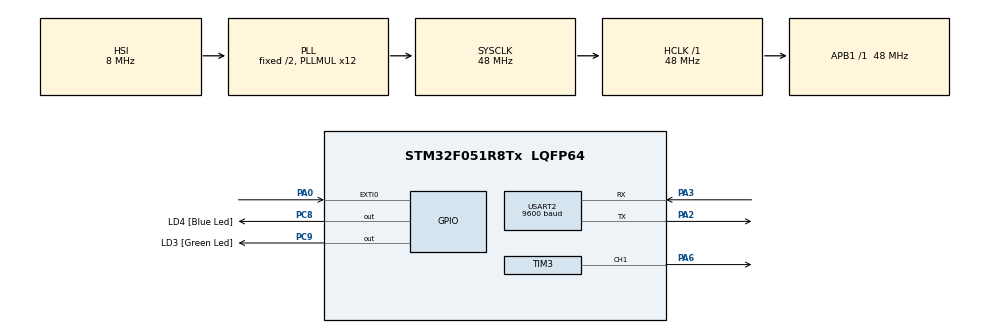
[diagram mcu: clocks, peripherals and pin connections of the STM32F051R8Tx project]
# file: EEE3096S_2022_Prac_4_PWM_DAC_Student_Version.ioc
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Dma.Request0=TIM2_CH1
Dma.TIM2_CH1.0.Direction=DMA_MEMORY_TO_PERIPH
Dma.TIM2_CH1.0.Instance=DMA1_Channel5
Dma.TIM2_CH1.0.MemDataAlignment=DMA_MDATAALIGN_WORD
Dma.TIM2_CH1.0.MemInc=DMA_MINC_ENABLE
Dma.TIM2_CH1.0.Mode=DMA_CIRCULAR
Dma.TIM2_CH1.0.PeriphDataAlignment=DMA_PDATAALIGN_WORD
Dma.TIM2_CH1.0.PeriphInc=DMA_PINC_DISABLE
Dma.TIM2_CH1.0.Priority=DMA_PRIORITY_LOW
Mcu.Family=STM32F0
Mcu.Name=STM32F051R8Tx
Mcu.Package=LQFP64
NVIC.DMA1_Channel4_5_IRQn=true\:0\:0\:false\:false\:true\:false\:true\:true
NVIC.EXTI0_1_IRQn=true\:0\:0\:false\:false\:true\:true\:true\:true
PA0.Signal=GPXTI0
PA13.GPIO_Label=SWDIO
PA13.Mode=Serial_Wire
PA13.Signal=SYS_SWDIO
PA14.GPIO_Label=SWCLK
PA14.Mode=Serial_Wire
PA14.Signal=SYS_SWCLK
PA2.Mode=Asynchronous
PA2.Signal=USART2_TX
PA3.Mode=Asynchronous
PA3.Signal=USART2_RX
PA6.Signal=S_TIM3_CH1
PC8.GPIO_Label=LD4 [Blue Led]
PC8.Signal=GPIO_Output
PC9.GPIO_Label=LD3 [Green Led]
PC9.Signal=GPIO_Output
PF0-OSC_IN.Mode=HSE-External-Oscillator
PF0-OSC_IN.Signal=RCC_OSC_IN
PF1-OSC_OUT.Mode=HSE-External-Oscillator
PF1-OSC_OUT.Signal=RCC_OSC_OUT
ProjectManager.HeapSize=0x200
ProjectManager.StackSize=0x400
ProjectManager.TargetToolchain=STM32CubeIDE
RCC.AHBFreq_Value=48000000
RCC.APB1Freq_Value=48000000
RCC.APB1TimFreq_Value=48000000
RCC.HCLKFreq_Value=48000000
RCC.PLLMUL=RCC_PLL_MUL12
RCC.SYSCLKFreq_VALUE=48000000
RCC.SYSCLKSource=RCC_SYSCLKSOURCE_PLLCLK
SH.S_TIM3_CH1.0=TIM3_CH1,PWM Generation1 CH1
TIM2.AutoReloadPreload=TIM_AUTORELOAD_PRELOAD_ENABLE
TIM2.Channel-Output\ Compare1\ No\ Output=TIM_CHANNEL_1
TIM2.Period=100
TIM3.AutoReloadPreload=TIM_AUTORELOAD_PRELOAD_ENABLE
TIM3.Channel-PWM\ Generation1\ CH1=TIM_CHANNEL_1
TIM3.Period=1023
USART2.BaudRate=9600
USART2.VirtualMode-Asynchronous=VM_ASYNC
VP_TIM2_VS_ClockSourceINT.Mode=Internal
VP_TIM2_VS_no_output1.Mode=Output Compare1 No Output
VP_TIM3_VS_ClockSourceINT.Mode=Internal
board=STM32F0DISCOVERY

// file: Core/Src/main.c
/* USER CODE BEGIN Header */
/**
*******************************************************
Info:		STM32 DMA and PWM with HAL
Author:		Amaan Vally
*******************************************************
In this practical you will to use PWM using DMA on the STM32 using the HAL.
We also set up an interrupt to switch the waveform between various LUTs.

  ******************************************************************************
  */
/* USER CODE END Header */
#include "main.h"

/* USER CODE BEGIN Includes */
#include "stdio.h"
/* USER CODE END Includes */

/* USER CODE BEGIN PD */

//TO DO:
//TASK 2
//Assign values to NS, TIM2CLK and F_SIGNAL
#define NS 128
#define TIM2CLK 48000000
#define F_SIGNAL 500

// Define RS232 Address
#define DS3231_ADDRESS 0xD0

/* USER CODE END PD */

 TIM_HandleTypeDef htim2;
TIM_HandleTypeDef htim3;
DMA_HandleTypeDef hdma_tim2_ch1;

UART_HandleTypeDef huart2;

/* USER CODE BEGIN PV */

//TO DO:
//TASK 1
//Create global variables for LUTs
uint32_t sin_LUT[NS] = {511, 536, 561, 586, 611, 635, 659, 683, 707, 730, 752, 774, 795, 816, 835,
855, 873, 890, 906, 922, 936, 950, 962, 973, 984, 993, 1000, 1007, 1013, 1017,
1020, 1022, 1023, 1022, 1020, 1017, 1013, 1007, 1000, 993, 984, 973, 962, 950, 936,
922, 906, 890, 873, 855, 835, 816, 795, 774, 752, 730, 707, 683, 659, 635,
611, 586, 561, 536, 511, 486, 461, 436, 411, 387, 363, 339, 315, 292, 270,
248, 227, 206, 187, 167, 149, 132, 116, 100, 86, 72, 60, 49, 38, 29,
22, 15, 9, 5, 2, 0, 0, 0, 2, 5, 9, 15, 22, 29, 38,
49, 60, 72, 86, 100, 116, 132, 149, 167, 187, 206, 227, 248, 270, 292,
315, 339, 363, 387, 411, 436, 461, 486};
uint32_t saw_LUT[NS] = {511, 519, 527, 535, 543, 551, 559, 567, 575, 583, 591, 599, 607, 615, 623,
631, 639, 647, 655, 663, 671, 679, 687, 695, 703, 711, 719, 727, 735, 743,
751, 759, 767, 775, 783, 791, 799, 807, 815, 823, 831, 839, 847, 855, 863,
871, 879, 887, 895, 903, 911, 919, 927, 935, 943, 951, 959, 967, 975, 983,
991, 999, 1007, 1015, 0, 7, 15, 23, 31, 39, 47, 55, 63, 71, 79,
87, 95, 103, 111, 119, 127, 135, 143, 151, 159, 167, 175, 183, 191, 199,
207, 215, 223, 231, 239, 247, 255, 263, 271, 279, 287, 295, 303, 311, 319,
327, 335, 343, 351, 359, 367, 375, 383, 391, 399, 407, 415, 423, 431, 439,
447, 455, 463, 471, 479, 487, 495, 503};
uint32_t triangle_LUT[NS] = {511, 527, 543, 559, 575, 591, 607, 623, 639, 655, 671, 687, 703, 719, 735,
751, 767, 783, 799, 815, 831, 847, 863, 879, 895, 911, 927, 943, 959, 975,
991, 1007, 1023, 1007, 991, 975, 959, 943, 927, 911, 895, 879, 863, 847, 831,
815, 799, 783, 767, 751, 735, 719, 703, 687, 671, 655, 639, 623, 607, 591,
575, 559, 543, 527, 511, 495, 479, 463, 447, 431, 415, 399, 383, 367, 351,
335, 319, 303, 287, 271, 255, 239, 223, 207, 191, 175, 159, 143, 127, 111,
95, 79, 63, 47, 31, 15, 0, 15, 31, 47, 63, 79, 95, 111, 127,
143, 159, 175, 191, 207, 223, 239, 255, 271, 287, 303, 319, 335, 351, 367,
383, 399, 415, 431, 447, 463, 479, 495};

//TO DO:
//TASK 3
//Calculate TIM2_Ticks
uint32_t TIM2_Ticks = (uint32_t)(TIM2CLK/F_SIGNAL)/NS;

// Global variables for debouncing and mode
int Start = 0;
int End = 0;
int mode = 0;

// Buffer for UART
char buffer[14];
/* USER CODE END PV */

void SystemClock_Config(void);
static void MX_GPIO_Init(void);
static void MX_DMA_Init(void);
static void MX_TIM2_Init(void);
static void MX_TIM3_Init(void);
static void MX_USART2_UART_Init(void);
/* USER CODE BEGIN PFP */
void EXTI0_1_IRQHandler(void);
/* USER CODE END PFP */

int main(void)
{

  /* MCU Configuration--------------------------------------------------------*/

  /* Reset of all peripherals, Initializes the Flash interface and the Systick. */
  HAL_Init();

  /* Configure the system clock */
  SystemClock_Config();

  /* Initialize all configured peripherals */
  MX_GPIO_Init();
  MX_DMA_Init();
  MX_TIM2_Init();
  MX_TIM3_Init();
  MX_USART2_UART_Init();
  /* USER CODE BEGIN 2 */

  //TO DO:
  //TASK 4
  //Start TIM3 in PWM mode on channel 1
  HAL_TIM_PWM_Start(&htim3, TIM_CHANNEL_1);
  //Start TIM2 in Output Compare (OC) mode on channel 1.
  HAL_TIM_OC_Start(&htim2, TIM_CHANNEL_1);
  //Start the DMA in interrupt (IT) mode.
  uint32_t DestAddress = (uint32_t) &(TIM3->CCR1);
  HAL_DMA_Start_IT(&hdma_tim2_ch1, (uint32_t)sin_LUT, DestAddress, NS);
  //Start the DMA transfer
  __HAL_TIM_ENABLE_DMA(&htim2, TIM_DMA_CC1);

  /* USER CODE END 2 */

  /* Infinite loop */
  while (1)
  {
	  // Display the contents of timer 3s control register. This contains the current duty cycle value
	  // We do this to check the values being displayed used by the PWM DAC
	  sprintf(buffer, "%d\r\n", TIM3->CCR1);
	  // Transmit data via UART
	  HAL_UART_Transmit(&huart2, buffer, sizeof(buffer), 1000);
  }
}

void SystemClock_Config(void)
{
  RCC_OscInitTypeDef RCC_OscInitStruct = {0};
  RCC_ClkInitTypeDef RCC_ClkInitStruct = {0};

  /** Initializes the RCC Oscillators according to the specified parameters
  * in the RCC_OscInitTypeDef structure.
  */
  RCC_OscInitStruct.OscillatorType = RCC_OSCILLATORTYPE_HSI;
  RCC_OscInitStruct.HSIState = RCC_HSI_ON;
  RCC_OscInitStruct.HSICalibrationValue = RCC_HSICALIBRATION_DEFAULT;
  RCC_OscInitStruct.PLL.PLLState = RCC_PLL_ON;
  RCC_OscInitStruct.PLL.PLLSource = RCC_PLLSOURCE_HSI;
  RCC_OscInitStruct.PLL.PLLMUL = RCC_PLL_MUL12;
  RCC_OscInitStruct.PLL.PREDIV = RCC_PREDIV_DIV1;
  if (HAL_RCC_OscConfig(&RCC_OscInitStruct) != HAL_OK)
  {
    Error_Handler();
  }

  /** Initializes the CPU, AHB and APB buses clocks
  */
  RCC_ClkInitStruct.ClockType = RCC_CLOCKTYPE_HCLK|RCC_CLOCKTYPE_SYSCLK
                              |RCC_CLOCKTYPE_PCLK1;
  RCC_ClkInitStruct.SYSCLKSource = RCC_SYSCLKSOURCE_PLLCLK;
  RCC_ClkInitStruct.AHBCLKDivider = RCC_SYSCLK_DIV1;
  RCC_ClkInitStruct.APB1CLKDivider = RCC_HCLK_DIV1;

  if (HAL_RCC_ClockConfig(&RCC_ClkInitStruct, FLASH_LATENCY_1) != HAL_OK)
  {
    Error_Handler();
  }
}

static void MX_TIM2_Init(void)
{

  TIM_ClockConfigTypeDef sClockSourceConfig = {0};
  TIM_MasterConfigTypeDef sMasterConfig = {0};
  TIM_OC_InitTypeDef sConfigOC = {0};

  htim2.Instance = TIM2;
  htim2.Init.Prescaler = 0;
  htim2.Init.CounterMode = TIM_COUNTERMODE_UP;
  htim2.Init.Period = TIM2_Ticks - 1; //To make the frequency what we want it to be
  htim2.Init.ClockDivision = TIM_CLOCKDIVISION_DIV1;
  htim2.Init.AutoReloadPreload = TIM_AUTORELOAD_PRELOAD_ENABLE;
  if (HAL_TIM_Base_Init(&htim2) != HAL_OK)
  {
    Error_Handler();
  }
  sClockSourceConfig.ClockSource = TIM_CLOCKSOURCE_INTERNAL;
  if (HAL_TIM_ConfigClockSource(&htim2, &sClockSourceConfig) != HAL_OK)
  {
    Error_Handler();
  }
  if (HAL_TIM_OC_Init(&htim2) != HAL_OK)
  {
    Error_Handler();
  }
  sMasterConfig.MasterOutputTrigger = TIM_TRGO_RESET;
  sMasterConfig.MasterSlaveMode = TIM_MASTERSLAVEMODE_DISABLE;
  if (HAL_TIMEx_MasterConfigSynchronization(&htim2, &sMasterConfig) != HAL_OK)
  {
    Error_Handler();
  }
  sConfigOC.OCMode = TIM_OCMODE_TIMING;
  sConfigOC.Pulse = 0;
  sConfigOC.OCPolarity = TIM_OCPOLARITY_HIGH;
  sConfigOC.OCFastMode = TIM_OCFAST_DISABLE;
  if (HAL_TIM_OC_ConfigChannel(&htim2, &sConfigOC, TIM_CHANNEL_1) != HAL_OK)
  {
    Error_Handler();
  }

}

static void MX_TIM3_Init(void)
{

  TIM_ClockConfigTypeDef sClockSourceConfig = {0};
  TIM_MasterConfigTypeDef sMasterConfig = {0};
  TIM_OC_InitTypeDef sConfigOC = {0};

  htim3.Instance = TIM3;
  htim3.Init.Prescaler = 0;
  htim3.Init.CounterMode = TIM_COUNTERMODE_UP;
  htim3.Init.Period = 1023;
  htim3.Init.ClockDivision = TIM_CLOCKDIVISION_DIV1;
  htim3.Init.AutoReloadPreload = TIM_AUTORELOAD_PRELOAD_ENABLE;
  if (HAL_TIM_Base_Init(&htim3) != HAL_OK)
  {
    Error_Handler();
  }
  sClockSourceConfig.ClockSource = TIM_CLOCKSOURCE_INTERNAL;
  if (HAL_TIM_ConfigClockSource(&htim3, &sClockSourceConfig) != HAL_OK)
  {
    Error_Handler();
  }
  if (HAL_TIM_PWM_Init(&htim3) != HAL_OK)
  {
    Error_Handler();
  }
  sMasterConfig.MasterOutputTrigger = TIM_TRGO_RESET;
  sMasterConfig.MasterSlaveMode = TIM_MASTERSLAVEMODE_DISABLE;
  if (HAL_TIMEx_MasterConfigSynchronization(&htim3, &sMasterConfig) != HAL_OK)
  {
    Error_Handler();
  }
  sConfigOC.OCMode = TIM_OCMODE_PWM1;
  sConfigOC.Pulse = 0;
  sConfigOC.OCPolarity = TIM_OCPOLARITY_HIGH;
  sConfigOC.OCFastMode = TIM_OCFAST_DISABLE;
  if (HAL_TIM_PWM_ConfigChannel(&htim3, &sConfigOC, TIM_CHANNEL_1) != HAL_OK)
  {
    Error_Handler();
  }
  HAL_TIM_MspPostInit(&htim3);

}

static void MX_USART2_UART_Init(void)
{

  /* USER CODE BEGIN USART2_Init 0 */
//
  /* USER CODE END USART2_Init 0 */

  /* USER CODE BEGIN USART2_Init 1 */
//
  /* USER CODE END USART2_Init 1 */
  huart2.Instance = USART2;
  huart2.Init.BaudRate = 9600;
  huart2.Init.WordLength = UART_WORDLENGTH_8B;
  huart2.Init.StopBits = UART_STOPBITS_1;
  huart2.Init.Parity = UART_PARITY_NONE;
  huart2.Init.Mode = UART_MODE_TX_RX;
  huart2.Init.HwFlowCtl = UART_HWCONTROL_NONE;
  huart2.Init.OverSampling = UART_OVERSAMPLING_16;
  huart2.Init.OneBitSampling = UART_ONE_BIT_SAMPLE_DISABLE;
  huart2.AdvancedInit.AdvFeatureInit = UART_ADVFEATURE_NO_INIT;
  if (HAL_UART_Init(&huart2) != HAL_OK)
  {
    Error_Handler();
  }
  /* USER CODE BEGIN USART2_Init 2 */
//
  /* USER CODE END USART2_Init 2 */

}

static void MX_DMA_Init(void)
{

  /* DMA controller clock enable */
  __HAL_RCC_DMA1_CLK_ENABLE();

  /* DMA interrupt init */
  /* DMA1_Channel4_5_IRQn interrupt configuration */
  HAL_NVIC_SetPriority(DMA1_Channel4_5_IRQn, 0, 0);
  HAL_NVIC_EnableIRQ(DMA1_Channel4_5_IRQn);

}

static void MX_GPIO_Init(void)
{
  GPIO_InitTypeDef GPIO_InitStruct = {0};

  /* GPIO Ports Clock Enable */
  __HAL_RCC_GPIOF_CLK_ENABLE();
  __HAL_RCC_GPIOA_CLK_ENABLE();
  __HAL_RCC_GPIOC_CLK_ENABLE();

  /*Configure GPIO pin Output Level */
  HAL_GPIO_WritePin(GPIOC, LD4_Pin|LD3_Pin, GPIO_PIN_RESET);

  /*Configure GPIO pin : PA0 */
  GPIO_InitStruct.Pin = GPIO_PIN_0;
  GPIO_InitStruct.Mode = GPIO_MODE_IT_RISING;
  GPIO_InitStruct.Pull = GPIO_NOPULL;
  HAL_GPIO_Init(GPIOA, &GPIO_InitStruct);

  /*Configure GPIO pins : LD4_Pin LD3_Pin */
  GPIO_InitStruct.Pin = LD4_Pin|LD3_Pin;
  GPIO_InitStruct.Mode = GPIO_MODE_OUTPUT_PP;
  GPIO_InitStruct.Pull = GPIO_NOPULL;
  GPIO_InitStruct.Speed = GPIO_SPEED_FREQ_LOW;
  HAL_GPIO_Init(GPIOC, &GPIO_InitStruct);

  /* EXTI interrupt init*/
  HAL_NVIC_SetPriority(EXTI0_1_IRQn, 0, 0);
  HAL_NVIC_EnableIRQ(EXTI0_1_IRQn);

}

/* USER CODE BEGIN 4 */
void EXTI0_1_IRQHandler(void)
{
	//TO DO:
	//TASK 5
	//Disable DMA transfer, start DMA in IT mode with new source and re enable transfer
	//Remember to debounce using HAL_GetTick()
	HAL_GPIO_EXTI_IRQHandler(GPIO_PIN_0); // Clear interrupt flags
	Start = HAL_GetTick();

	if (GPIO_PIN_0== GPIO_PIN_SET && (Start - End)>200) // Debouncing delay
	{
		// Disable the DMA transfer
		__HAL_TIM_DISABLE_DMA(&htim2, TIM_DMA_CC1);
		// Set the destination address
		uint32_t DestAddress = (uint32_t) &(TIM3->CCR1);
		uint32_t * src = 0;
		// Increment the mode and wrap around if necessary
		mode = (mode+1)%3;
		// Change the source address depending on the mode
		switch(mode){
			case 0:
				src = (uint32_t *)sin_LUT;
				break;
			case 1:
				src = (uint32_t *)saw_LUT;
				break;
			case 2:
				src = (uint32_t *)triangle_LUT;
				break;
			default:
				src = (uint32_t *)sin_LUT;
				break;

		}
		// Display the mode
		sprintf(buffer, "Mode: %d\r\n", mode);
		// Transmit data via UART
		HAL_UART_Transmit(&huart2, buffer, sizeof(buffer), 1000);
		// Abort the old DMA transfer
		HAL_StatusTypeDef stat = HAL_DMA_Abort_IT(&hdma_tim2_ch1);
		// Start a new DMA transfer with the new source address
		stat = HAL_DMA_Start_IT(&hdma_tim2_ch1, (uint32_t)src, DestAddress, NS);
		// Re enable DMA transfer
		__HAL_TIM_ENABLE_DMA(&htim2, TIM_DMA_CC1);
		End = Start;
	}

}
/* USER CODE END 4 */

void Error_Handler(void)
{
  __disable_irq();
  while (1)
  {
  }
}
